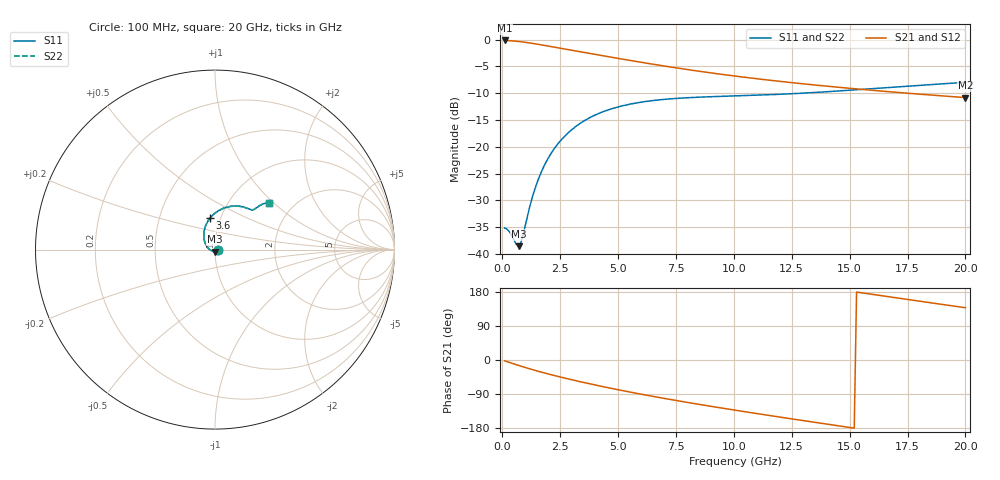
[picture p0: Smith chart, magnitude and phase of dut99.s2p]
! Touchstone file exported from HFSS 2024.1.0
!  File:  C:/UserFiles/LocalFiles/RDL_TSV_Batchsim/temp_RDL_TSV_99_1779419614.aedt
!  Generated:  11:27:57 AM May 22, 2026
!  Design:  RDL_TSV
!  Project:  temp_RDL_TSV_99_1779419614
!  Setup:  Setup1
!  Solution:  Sweep
! Variables:
!  dtsv = 13.44um
!  hbump = 3um
!  htsv = 93.27um
!  ldown = 213.61um
!  lrdl = 530.27um
!  p = 40
!  p1 = 47.78um
!  rhole = 10um
!  subl = 2761.91um
!  t = 450um
!  tdown = 4.95um
!  trdl = 3.68um
!  viad = 10um
!  wdown = 25.22um
!  wrdl = 13.02um
!  xbump = 18um
# GHz S MA R 50.000000
! Terminal data exported
! Port[1] = TM1_1_T1
! Port[2] = TM1_4_T1
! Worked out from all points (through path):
!   200 points, 100 MHz to 20 GHz, reference 50 ohm
!   highest |S21| = -0.16 dB at 100 MHz (marker M1); lowest = -10.8 dB at 20 GHz (marker M2)
!   group delay of S21, straight-line fit = 29 ps
!   lowest |S11| = -38.5 dB at 700 MHz (marker M3), VSWR 1.02, Z = 49.9 - j1.18 ohm
!   |S11| at or under -10 dB: start of sweep to 12.93 GHz
!   |S22| runs from -38.5 to -8.0 dB; largest |S21 - S12| = 3e-13
!   S11 on the Smith chart (normalised r, x): 100 MHz: 1.04, -0.00; 3.6 GHz: 0.89, +0.32; 20 GHz: 1.51, +0.94
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0.1  0.01754 -7.3  0.9817 -2.1  0.9817 -2.1  0.01754 -7.3
! Gamma 0 0 0 0
! Port Impedance 50 0 50 0
0.3  0.01625 -25.0  0.9775 -6.2  0.9775 -6.2  0.01625 -25.0
0.6  0.01235 -69.6  0.9658 -12.2  0.9658 -12.2  0.01235 -69.6
0.7  0.01185 -92.5  0.9608 -14.2  0.9608 -14.2  0.01185 -92.5
0.8  0.01269 -117.1  0.9552 -16.1  0.9552 -16.1  0.01269 -117.2
0.9  0.01505 -138.9  0.9493 -18.0  0.9493 -18.0  0.01505 -138.9
1.2  0.02838 -178.7  0.9294 -23.5  0.9294 -23.5  0.02838 -178.7
1.4  0.03999 166.4  0.9149 -27.1  0.9149 -27.1  0.04 166.4
1.6  0.05268 155.3  0.8999 -30.5  0.8999 -30.5  0.05269 155.3
1.9  0.07273 142.3  0.877 -35.5  0.877 -35.5  0.07275 142.3
2.2  0.09311 131.9  0.8542 -40.2  0.8542 -40.2  0.09313 131.9
2.6  0.1197 120.4  0.8244 -46.3  0.8244 -46.3  0.1197 120.4
3.5  0.1729 100.5  0.7612 -59.1  0.7612 -59.1  0.1729 100.5
3.6  0.1781 98.7  0.7545 -60.4  0.7545 -60.4  0.1781 98.7
5  0.2355 78.2  0.668 -78.5  0.668 -78.5  0.2356 78.2
6.8  0.2746 61.8  0.5757 -99.3  0.5757 -99.3  0.2747 61.7
8.4  0.2899 53.2  0.5104 -116.1  0.5104 -116.1  0.29 53.2
10.1  0.2987 48.4  0.4555 -132.9  0.4555 -132.9  0.2988 48.3
11.7  0.3072 46.3  0.4144 -148.0  0.4144 -148.0  0.3073 46.3
13.4  0.3204 45.5  0.379 -163.6  0.379 -163.6  0.3205 45.5
16.7  0.3583 44.2  0.3266 166.8  0.3266 166.8  0.3583 44.1
20  0.3988 41.1  0.288 137.9  0.288 137.9  0.3986 41.0
